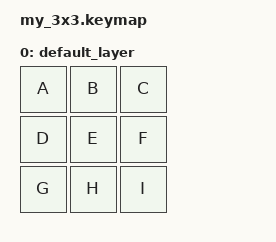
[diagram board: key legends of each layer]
/ {
    kscan_0: kscan {
        compatible = "zmk,kscan-gpio-matrix";
        row-gpios = <&pro_micro 0 GPIO_ACTIVE_HIGH>,
                    <&pro_micro 1 GPIO_ACTIVE_HIGH>,
                    <&pro_micro 2 GPIO_ACTIVE_HIGH>;
        col-gpios = <&pro_micro 3 GPIO_ACTIVE_HIGH>,
                    <&pro_micro 4 GPIO_ACTIVE_HIGH>,
                    <&pro_micro 5 GPIO_ACTIVE_HIGH>;
    };

    chosen {
        zmk,kscan = &kscan_0;
    };

    keymap {
        compatible = "zmk,keymap";
        default_layer {
            bindings = <
                &kp A &kp B &kp C
                &kp D &kp E &kp F
                &kp G &kp H &kp I
            >;
        };
    };
};
